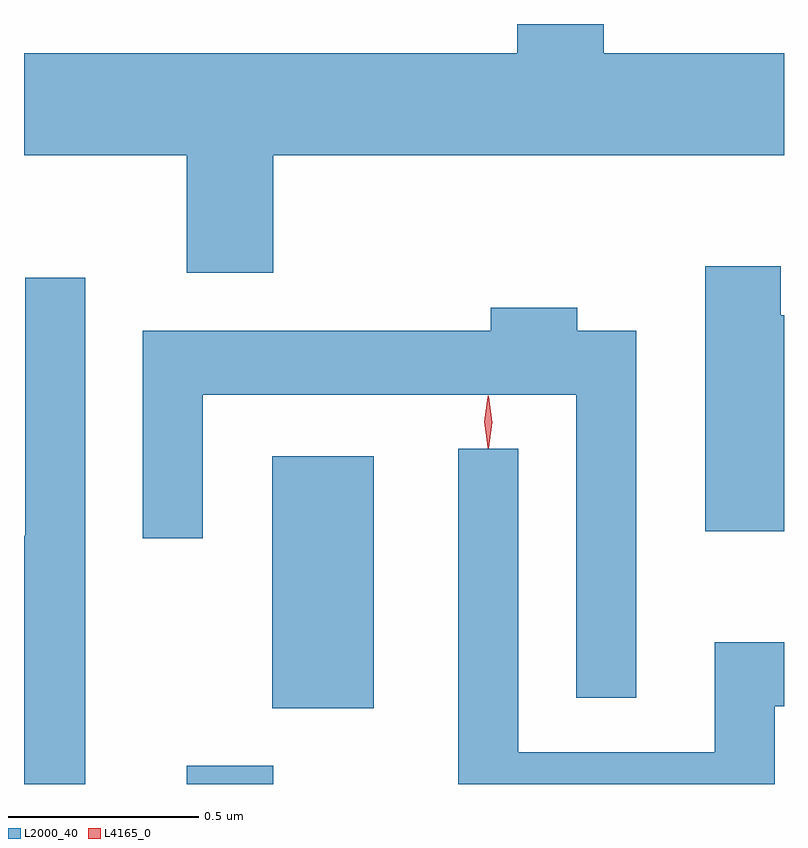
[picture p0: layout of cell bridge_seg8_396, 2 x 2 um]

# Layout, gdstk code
import gdstk
lib = gdstk.Library(unit=1e-6, precision=1e-09)
def R(c, l, rs):  # rectangles x0, y0, x1, y1
    for r in rs: c.add(gdstk.rectangle(r[:2], r[2:], *l))
def P(c, l, *ps):  # polygons
    for p in ps: c.add(gdstk.Polygon(p, *l))
L2000_40 = (2000, 40)
L4165_0 = (4165, 0)

bridge_seg8_396 = lib.new_cell('bridge_seg8_396')
R(bridge_seg8_396, L2000_40, [(687.161,1879.161,687.389,1879.209), (687.386,1879.361,687.654,1880.024)])
P(bridge_seg8_396, L2000_40, [(687.389,1880.816),(688.733,1880.816),(688.733,1881.084),(688.259,1881.084),(688.259,1881.161),(688.031,1881.161),(688.031,1881.084),(686.733,1881.084),(686.733,1880.816),(687.161,1880.816),(687.161,1880.506),(687.389,1880.506)],
  [(688.733,1880.394),(688.724,1880.394),(688.724,1880.524),(688.526,1880.524),(688.526,1879.826),(688.733,1879.826)],
  [(686.894,1880.493),(686.736,1880.493),(686.736,1879.814),(686.733,1879.814),(686.733,1879.161),(686.894,1879.161)],
  [(688.344,1880.354),(688.189,1880.354),(688.189,1880.414),(687.961,1880.414),(687.961,1880.354),(687.046,1880.354),(687.046,1879.808),(687.204,1879.808),(687.204,1880.186),(688.186,1880.186),(688.186,1879.388),(688.344,1879.388)],
  [(688.709,1879.366),(688.733,1879.366),(688.733,1879.534),(688.551,1879.534),(688.551,1879.244),(688.034,1879.244),(688.034,1880.043),(687.876,1880.043),(687.876,1879.161),(688.709,1879.161)])
P(bridge_seg8_396, L4165_0, [(687.954,1880.047),(687.954,1880.048),(687.944,1880.114),(687.954,1880.18),(687.954,1880.18),(687.955,1880.18),(687.964,1880.114),(687.955,1880.048)],
  [(687.954,1880.044),(687.945,1880.113),(687.954,1880.182),(687.955,1880.183),(687.956,1880.182),(687.965,1880.113),(687.956,1880.044),(687.955,1880.044)])

lib.write_gds('bridge_seg8_396.gds')
